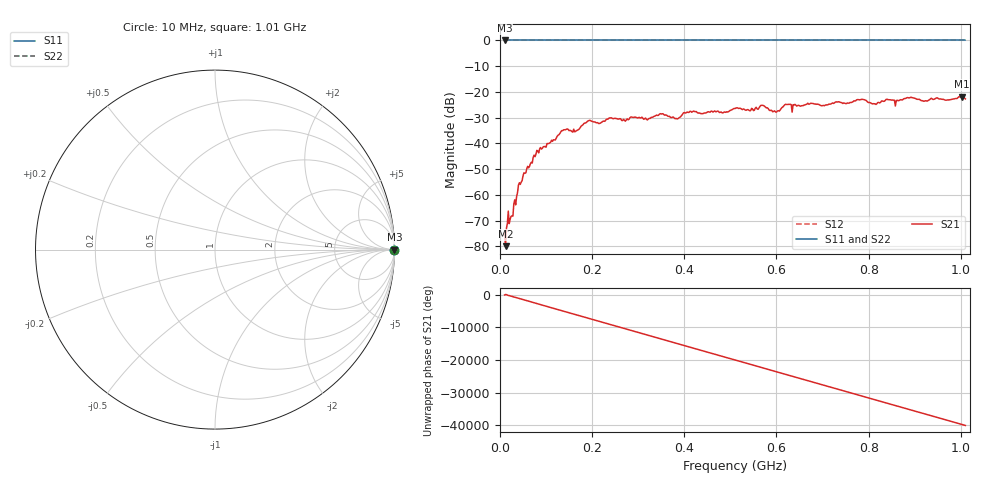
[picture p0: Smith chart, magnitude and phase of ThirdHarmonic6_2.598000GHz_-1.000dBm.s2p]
! 8/17/2025 5:36:36 AM
! C:\ANRITSUVNA\TEMP\TEMP.S2P
! CHANNEL.1
! TR.MEASUREMENT
! RAW.DATA
! RF.CORRECTION.OFF
! AVERAGING.OFF
! IF.BANDWIDTH: 5KHZ
! SWEEPTYPE:  FREQ.SWEEP(Linear)
! Reference Plane Port Info
! PORT:  PORT1  PORT2
! DISTANCE:  0  m  0  m
! TIME:  0  s  0  s
! PHASE.OFFSET:  0  deg.  0  deg.
! LOSS:  0  dB  0  dB
! REF.LOSS:  0  dB  0  dB
! REF.FREQ:  0  Hz  0  Hz
! Power Info
! POWER:  -20  dBm  -20  dBm
! EFF.POWER:  -20  dBm  -20  dBm
! SOURCE.ATTEN:  0  dB  0  dB
! TEST.ATTEN:  0  dB  0  dB
# GHZ S RI R 50.0
! FREQ.GHZ  S11RE  S11IM  S21RE  S21IM  S12RE  S12IM  S22RE  S22IM
!; PortSelection: Port_12
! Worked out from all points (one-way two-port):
!   501 points, 10 MHz to 1.01 GHz, reference 50 ohm
!   highest |S21| = -21.80 dB at 1.002 GHz (marker M1); lowest = -79.9 dB at 12 MHz (marker M2)
!   lowest |S11| = 0.0 dB at 10 MHz (marker M3)
!   |S11| at or under -10 dB: nowhere
!   |S22| runs from 0.0 to 0.0 dB; largest |S21 - S12| = 1.1
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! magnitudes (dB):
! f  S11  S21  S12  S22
! 10 MHz  0.0  -74.6  0.0  0.0
! 12 MHz  0.0  -79.9  0.0  0.0
! 20 MHz  0.0  -71.2  0.0  0.0
! 24 MHz  0.0  -68.3  0.0  0.0
! 42 MHz  0.0  -55.3  0.0  0.0
! 76 MHz  0.0  -45.2  0.0  0.0
! 136 MHz  0.0  -35.0  0.0  0.0
! 166 MHz  0.0  -35.1  0.0  0.0
! 178 MHz  0.0  -33.1  0.0  0.0
! 194 MHz  0.0  -31.0  0.0  0.0
! 344 MHz  0.0  -29.1  0.0  0.0
! 384 MHz  0.0  -30.5  0.0  0.0
! 410 MHz  0.0  -28.0  0.0  0.0
! 510 MHz  0.0  -26.5  0.0  0.0
! 570 MHz  0.0  -25.2  0.0  0.0
! 596 MHz  0.0  -27.4  0.0  0.0
! 622 MHz  0.0  -24.9  0.0  0.0
! 678 MHz  0.0  -24.5  0.0  0.0
! 814 MHz  0.0  -24.6  0.0  0.0
! 844 MHz  0.0  -23.0  0.0  0.0
! 1.002 GHz  0.0  -21.8  0.0  0.0
! 1.01 GHz  0.0  -22.7  0.0  0.0
